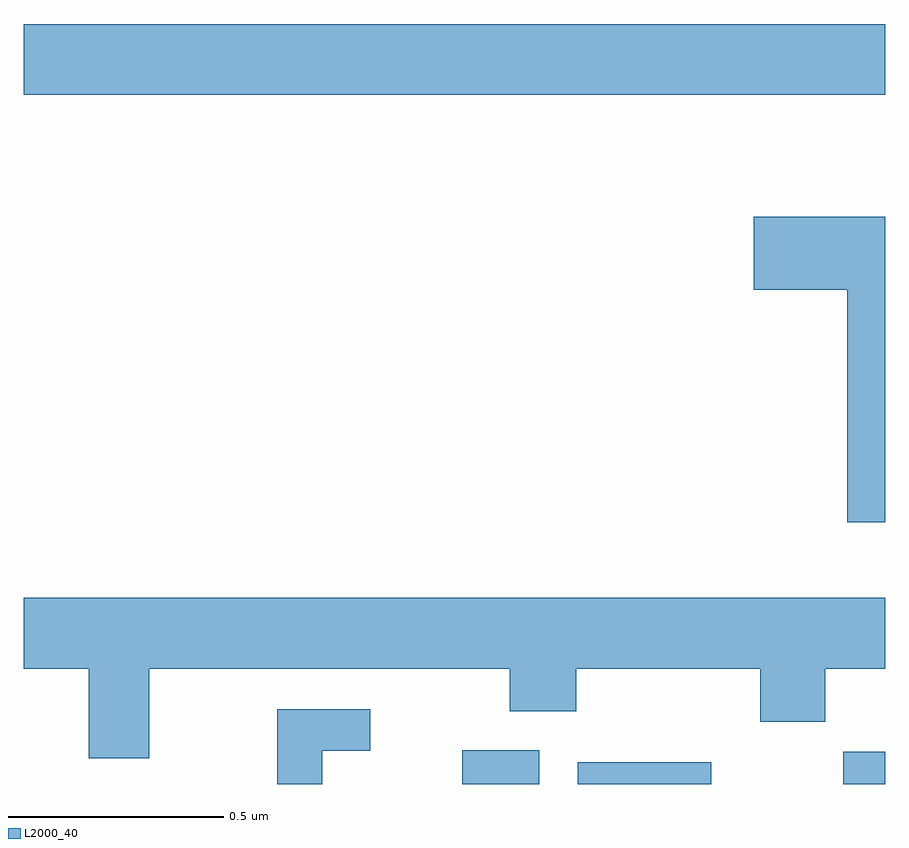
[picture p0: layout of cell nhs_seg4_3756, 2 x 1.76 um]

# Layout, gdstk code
import gdstk
lib = gdstk.Library(unit=1e-6, precision=1e-09)
def R(c, l, rs):  # rectangles x0, y0, x1, y1
    for r in rs: c.add(gdstk.rectangle(r[:2], r[2:], *l))
def P(c, l, *ps):  # polygons
    for p in ps: c.add(gdstk.Polygon(p, *l))
L2000_40 = (2000, 40)

nhs_seg4_3756 = lib.new_cell('nhs_seg4_3756')
R(nhs_seg4_3756, L2000_40, [(158.018,781.9,158.197,781.978), (158.286,781.9,158.596,781.95), (158.902,781.9,159,781.975), (157,783.5,159,783.664)])
P(nhs_seg4_3756, L2000_40, [(159,783.217),(158.694,783.217),(158.694,783.047),(158.912,783.047),(158.912,782.508),(159,782.508)],
  [(157.291,782.168),(158.128,782.168),(158.128,782.069),(158.283,782.069),(158.283,782.168),(158.71,782.168),(158.71,782.044),(158.861,782.044),(158.861,782.168),(159,782.168),(159,782.332),(157,782.332),(157,782.168),(157.151,782.168),(157.151,781.96),(157.291,781.96)],
  [(157.693,781.977),(157.804,781.977),(157.804,782.073),(157.589,782.073),(157.589,781.9),(157.693,781.9)])

lib.write_gds('nhs_seg4_3756.gds')
